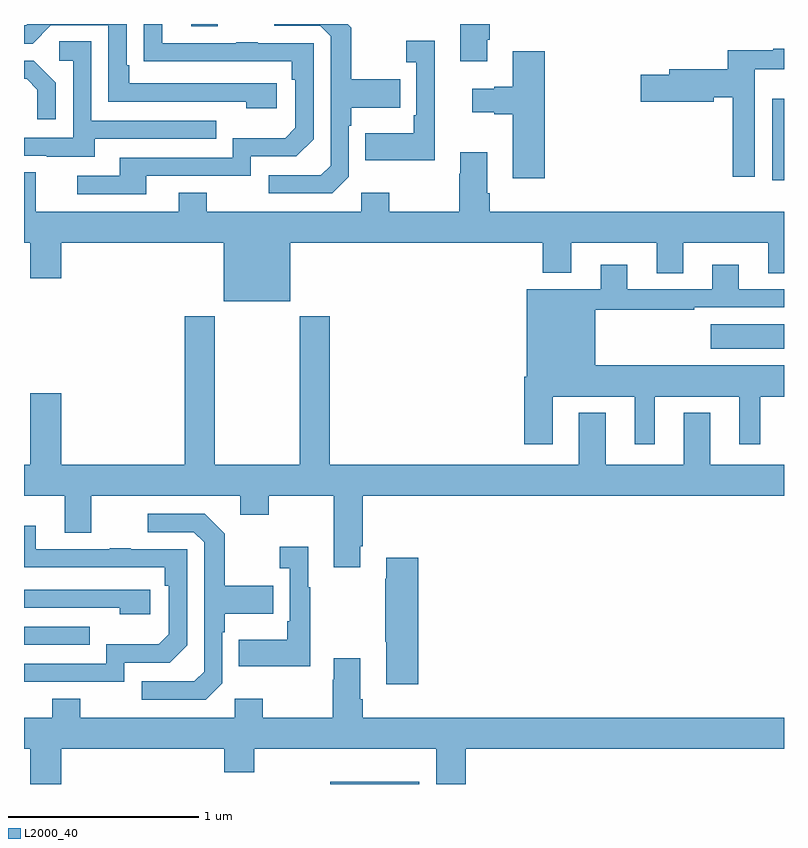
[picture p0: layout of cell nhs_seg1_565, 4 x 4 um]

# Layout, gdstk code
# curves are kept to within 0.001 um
import gdstk
lib = gdstk.Library(unit=1e-6, precision=1e-09)
def R(c, l, rs):  # rectangles x0, y0, x1, y1
    for r in rs: c.add(gdstk.rectangle(r[:2], r[2:], *l))
def P(c, l, *ps):  # polygons
    for p in ps: c.add(gdstk.Polygon(p, *l))
L2000_40 = (2000, 40)

nhs_seg1_565 = lib.new_cell('nhs_seg1_565')
R(nhs_seg1_565, L2000_40, [(142.611,566.199,143.08,566.212), (141,566.931,141.347,567.027), (144.615,568.49,145,568.618), (144.938,569.376,145,569.806), (141.881,570.186,142.021,570.199)])
P(nhs_seg1_565, L2000_40, [(143.437,570.115),(143.45,570.115),(143.45,570.199),(143.297,570.199),(143.297,570.003),(143.437,570.003)],
  [(142.71,569.394),(142.71,569.663),(142.723,569.663),(142.723,569.759),(142.979,569.759),(142.979,569.907),(142.723,569.907),(142.723,570.179),(142.703,570.199),(142.317,570.199),(142.317,570.189),(142.56,570.189),(142.614,570.135),(142.614,569.454),(142.563,569.403),(142.287,569.403),(142.287,569.307),(142.623,569.307)],
  [(141.643,569.4),(142.194,569.4),(142.194,569.502),(142.434,569.502),(142.524,569.592),(142.524,570.099),(142.229,570.099),(142.229,570.104),(142.117,570.104),(142.117,570.099),(141.727,570.099),(141.727,570.199),(141.631,570.199),(141.631,570.004),(142.408,570.003),(142.408,569.906),(142.428,569.906),(142.428,569.652),(142.375,569.599),(142.098,569.599),(142.098,569.496),(141.503,569.496),(141.503,569.4),(141.279,569.4),(141.279,569.304),(141.643,569.304)],
  [(142.33,569.886),(141.553,569.886),(141.553,569.983),(141.54,569.983),(141.54,570.199),(141.016,570.199),(141.009,570.192),(141,570.192),(141,570.096),(141.045,570.096),(141.141,570.192),(141.444,570.192),(141.444,569.79),(142.169,569.79),(142.169,569.756),(142.33,569.756)],
  [(143.162,570.112),(143.013,570.112),(143.013,569.999),(143.064,569.999),(143.064,569.719),(143.052,569.719),(143.052,569.623),(142.795,569.623),(142.795,569.483),(143.162,569.483)],
  [(141.373,569.595),(142.013,569.595),(142.013,569.691),(141.354,569.691),(141.354,570.107),(141.186,570.107),(141.186,570.006),(141.258,570.006),(141.258,569.601),(141,569.601),(141,569.505),(141.119,569.505),(141.119,569.501),(141.373,569.501)],
  [(144.846,569.96),(145,569.96),(145,570.07),(144.943,570.07),(144.943,570.06),(144.704,570.06),(144.704,569.961),(144.395,569.961),(144.395,569.931),(144.246,569.931),(144.246,569.789),(144.63,569.789),(144.63,569.813),(144.73,569.813),(144.73,569.394),(144.846,569.394)],
  [(143.741,570.055),(143.573,570.055),(143.573,569.87),(143.474,569.87),(143.474,569.857),(143.358,569.857),(143.358,569.735),(143.474,569.735),(143.474,569.723),(143.573,569.723),(143.573,569.388),(143.741,569.388)],
  [(141.168,569.89),(141.052,570.006),(141,570.006),(141,569.91),(141.014,569.91),(141.071,569.853),(141.071,569.697),(141.168,569.697)],
  [(142.402,569.048),(143.729,569.048),(143.729,568.889),(143.881,568.889),(143.881,569.048),(144.329,569.048),(144.329,568.888),(144.469,568.888),(144.469,569.048),(144.917,569.048),(144.917,568.888),(145,568.888),(145,569.212),(143.45,569.212),(143.45,569.308),(143.437,569.308),(143.437,569.524),(143.297,569.524),(143.297,569.411),(143.29,569.411),(143.29,569.212),(142.923,569.212),(142.923,569.311),(142.776,569.311),(142.776,569.212),(141.963,569.212),(141.963,569.311),(141.815,569.311),(141.815,569.212),(141.061,569.212),(141.061,569.42),(141,569.42),(141,569.048),(141.032,569.048),(141.032,568.86),(141.196,568.86),(141.196,569.048),(142.052,569.048),(142.052,568.739),(142.402,568.739)],
  [(143.782,568.238),(144.215,568.238),(144.215,567.987),(144.319,567.987),(144.319,568.238),(144.764,568.238),(144.764,567.987),(144.874,567.987),(144.874,568.238),(145,568.238),(145,568.402),(144.007,568.402),(144.007,568.695),(144.527,568.695),(144.527,568.707),(145,568.707),(145,568.803),(144.763,568.803),(144.763,568.933),(144.623,568.933),(144.623,568.803),(144.175,568.803),(144.175,568.933),(144.035,568.933),(144.035,568.804),(143.645,568.804),(143.645,568.342),(143.633,568.342),(143.633,567.987),(143.782,567.987)],
  [(145,567.88),(144.613,567.88),(144.613,568.153),(144.473,568.153),(144.473,567.88),(144.061,567.88),(144.061,568.153),(143.921,568.153),(143.921,567.88),(142.61,567.88),(142.61,568.66),(142.45,568.66),(142.45,567.88),(142.005,567.88),(142.005,568.66),(141.845,568.66),(141.845,567.88),(141.196,567.88),(141.196,568.255),(141.032,568.255),(141.032,567.88),(141,567.88),(141,567.716),(141.215,567.716),(141.215,567.522),(141.355,567.522),(141.355,567.716),(142.139,567.716),(142.139,567.617),(142.287,567.617),(142.287,567.716),(142.631,567.716),(142.631,567.339),(142.771,567.339),(142.771,567.451),(142.784,567.451),(142.784,567.716),(145,567.716)],
  [(142.044,566.73),(142.044,566.999),(142.057,566.999),(142.057,567.095),(142.313,567.095),(142.313,567.243),(142.057,567.243),(142.057,567.515),(141.951,567.621),(141.651,567.621),(141.651,567.525),(141.894,567.525),(141.948,567.471),(141.948,566.79),(141.897,566.739),(141.621,566.739),(141.621,566.643),(141.957,566.643)],
  [(141.528,566.838),(141.768,566.838),(141.858,566.928),(141.858,567.435),(141.563,567.435),(141.563,567.44),(141.451,567.44),(141.451,567.435),(141.061,567.435),(141.061,567.559),(141,567.559),(141,567.34),(141.742,567.339),(141.742,567.242),(141.762,567.242),(141.762,566.988),(141.709,566.935),(141.432,566.935),(141.432,566.832),(141,566.832),(141,566.736),(141.528,566.736)],
  [(142.507,567.235),(142.495,567.235),(142.495,567.448),(142.347,567.448),(142.347,567.335),(142.398,567.335),(142.398,567.055),(142.386,567.055),(142.386,566.959),(142.129,566.959),(142.129,566.819),(142.507,566.819)],
  [(143.075,567.391),(142.907,567.391),(142.907,567.278),(142.9,567.278),(142.9,566.947),(142.907,566.947),(142.907,566.724),(143.075,566.724)],
  [(141.664,567.222),(141,567.222),(141,567.126),(141.503,567.126),(141.503,567.092),(141.664,567.092)],
  [(141.196,566.384),(142.055,566.384),(142.055,566.26),(142.211,566.26),(142.211,566.384),(143.171,566.384),(143.171,566.199),(143.324,566.199),(143.324,566.384),(145,566.384),(145,566.548),(142.784,566.548),(142.784,566.644),(142.771,566.644),(142.771,566.86),(142.631,566.86),(142.631,566.747),(142.624,566.747),(142.624,566.548),(142.257,566.548),(142.257,566.647),(142.11,566.647),(142.11,566.548),(141.297,566.548),(141.297,566.647),(141.149,566.647),(141.149,566.548),(141,566.548),(141,566.384),(141.032,566.384),(141.032,566.199),(141.196,566.199)])

lib.write_gds('nhs_seg1_565.gds')
